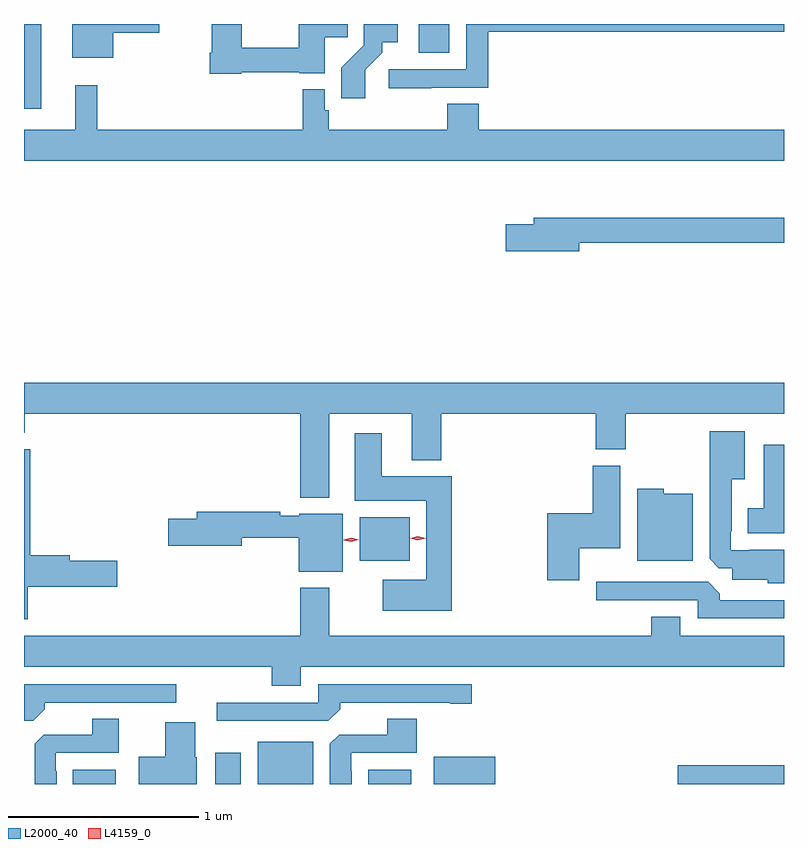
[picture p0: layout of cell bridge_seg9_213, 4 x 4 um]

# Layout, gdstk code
import gdstk
lib = gdstk.Library(unit=1e-6, precision=1e-09)
def R(c, l, rs):  # rectangles x0, y0, x1, y1
    for r in rs: c.add(gdstk.rectangle(r[:2], r[2:], *l))
def P(c, l, *ps):  # polygons
    for p in ps: c.add(gdstk.Polygon(p, *l))
L2000_40 = (2000, 40)
L4159_0 = (4159, 0)

bridge_seg9_213 = lib.new_cell('bridge_seg9_213')
R(bridge_seg9_213, L2000_40, [(229.88,1202.464,230.107,1202.539), (230.63,1202.464,230.764,1202.629), (230.852,1202.464,231.145,1202.686), (231.434,1202.464,231.661,1202.539), (231.78,1202.464,232.102,1202.608), (233.065,1202.464,233.623,1202.564), (231.389,1203.638,231.652,1203.868), (229.623,1206.018,229.714,1206.464), (231.701,1206.312,231.862,1206.464)])
P(bridge_seg9_213, L2000_40, [(231.418,1206.223),(231.508,1206.313),(231.508,1206.368),(231.589,1206.368),(231.589,1206.464),(231.411,1206.464),(231.411,1206.353),(231.292,1206.234),(231.292,1206.072),(231.418,1206.072)],
  [(231.767,1206.129),(232.067,1206.129),(232.067,1206.424),(233.623,1206.424),(233.623,1206.464),(231.951,1206.464),(231.951,1206.225),(231.543,1206.225),(231.543,1206.127),(231.767,1206.127)],
  [(230.092,1206.419),(230.335,1206.419),(230.335,1206.464),(229.877,1206.464),(229.877,1206.287),(230.092,1206.287)],
  [(230.766,1206.21),(231.072,1206.21),(231.072,1206.206),(231.205,1206.206),(231.205,1206.394),(231.326,1206.394),(231.326,1206.464),(231.068,1206.464),(231.068,1206.338),(230.77,1206.338),(230.77,1206.464),(230.612,1206.464),(230.612,1206.313),(230.6,1206.313),(230.6,1206.202),(230.766,1206.202)],
  [(233.623,1205.908),(232.016,1205.908),(232.016,1206.044),(231.851,1206.044),(231.851,1205.908),(231.227,1205.908),(231.227,1206.009),(231.207,1206.009),(231.207,1206.121),(231.091,1206.121),(231.091,1205.908),(230.009,1205.908),(230.009,1206.142),(229.892,1206.142),(229.892,1205.908),(229.623,1205.908),(229.623,1205.744),(233.623,1205.744)],
  [(232.546,1205.314),(233.623,1205.314),(233.623,1205.443),(232.307,1205.443),(232.307,1205.409),(232.158,1205.409),(232.158,1205.267),(232.546,1205.267)],
  [(231.229,1204.412),(231.665,1204.412),(231.665,1204.169),(231.818,1204.169),(231.818,1204.412),(232.631,1204.412),(232.631,1204.225),(232.791,1204.225),(232.791,1204.412),(233.623,1204.412),(233.623,1204.576),(229.623,1204.576),(229.623,1204.313),(229.628,1204.313),(229.628,1204.412),(231.077,1204.412),(231.077,1203.971),(231.229,1203.971)],
  [(233.623,1203.697),(233.443,1203.697),(233.443,1203.693),(233.343,1203.693),(233.343,1203.793),(233.347,1203.793),(233.347,1204.067),(233.416,1204.067),(233.416,1204.321),(233.231,1204.321),(233.231,1203.649),(233.28,1203.6),(233.351,1203.6),(233.351,1203.539),(233.538,1203.539),(233.538,1203.521),(233.623,1203.521)],
  [(231.875,1204.084),(231.505,1204.084),(231.505,1204.309),(231.365,1204.309),(231.365,1203.956),(231.74,1203.956),(231.74,1203.538),(231.51,1203.538),(231.51,1203.377),(231.875,1203.377)],
  [(233.623,1204.249),(233.516,1204.249),(233.516,1203.916),(233.432,1203.916),(233.432,1203.785),(233.623,1203.785)],
  [(229.642,1203.503),(230.113,1203.503),(230.113,1203.638),(229.864,1203.638),(229.864,1203.667),(229.655,1203.667),(229.655,1204.226),(229.623,1204.226),(229.623,1203.33),(229.642,1203.33)],
  [(232.546,1203.704),(232.762,1203.704),(232.762,1204.14),(232.616,1204.14),(232.616,1203.889),(232.376,1203.889),(232.376,1203.537),(232.546,1203.537)],
  [(233.143,1203.991),(232.989,1203.991),(232.989,1204.018),(232.85,1204.018),(232.85,1203.638),(233.143,1203.638)],
  [(231.301,1203.886),(231.072,1203.886),(231.072,1203.876),(230.972,1203.876),(230.972,1203.896),(230.531,1203.896),(230.531,1203.86),(230.382,1203.86),(230.382,1203.718),(230.77,1203.718),(230.77,1203.76),(231.068,1203.76),(231.068,1203.581),(231.301,1203.581)],
  [(233.623,1203.432),(233.285,1203.432),(233.285,1203.466),(233.223,1203.528),(232.635,1203.528),(232.635,1203.432),(233.169,1203.432),(233.169,1203.336),(233.623,1203.336)],
  [(231.079,1203.08),(233.623,1203.08),(233.623,1203.244),(233.077,1203.244),(233.077,1203.343),(232.925,1203.343),(232.925,1203.244),(231.229,1203.244),(231.229,1203.496),(231.077,1203.496),(231.077,1203.244),(229.623,1203.244),(229.623,1203.08),(230.927,1203.08),(230.927,1202.981),(231.079,1202.981)],
  [(231.287,1202.858),(231.287,1202.892),(231.866,1202.892),(231.866,1202.887),(231.979,1202.887),(231.979,1202.988),(231.171,1202.988),(231.171,1202.892),(230.637,1202.892),(230.637,1202.796),(231.225,1202.796)],
  [(229.733,1202.858),(229.733,1202.892),(230.425,1202.892),(230.425,1202.988),(229.623,1202.988),(229.623,1202.796),(229.671,1202.796)],
  [(229.795,1202.531),(229.791,1202.531),(229.791,1202.628),(230.122,1202.628),(230.122,1202.807),(229.982,1202.807),(229.982,1202.724),(229.728,1202.724),(229.679,1202.675),(229.679,1202.464),(229.795,1202.464)],
  [(231.349,1202.531),(231.345,1202.531),(231.345,1202.628),(231.689,1202.628),(231.689,1202.807),(231.536,1202.807),(231.536,1202.724),(231.282,1202.724),(231.233,1202.675),(231.233,1202.464),(231.349,1202.464)],
  [(230.533,1202.604),(230.524,1202.604),(230.524,1202.788),(230.366,1202.788),(230.366,1202.608),(230.226,1202.608),(230.226,1202.464),(230.533,1202.464)])
P(bridge_seg9_213, L4159_0, [(231.696,1203.747),(231.656,1203.757),(231.656,1203.757),(231.656,1203.757),(231.696,1203.767),(231.737,1203.757),(231.737,1203.757),(231.737,1203.757)],
  [(231.346,1203.739),(231.307,1203.748),(231.307,1203.749),(231.307,1203.749),(231.346,1203.759),(231.384,1203.749),(231.384,1203.749),(231.384,1203.749)])

lib.write_gds('bridge_seg9_213.gds')
